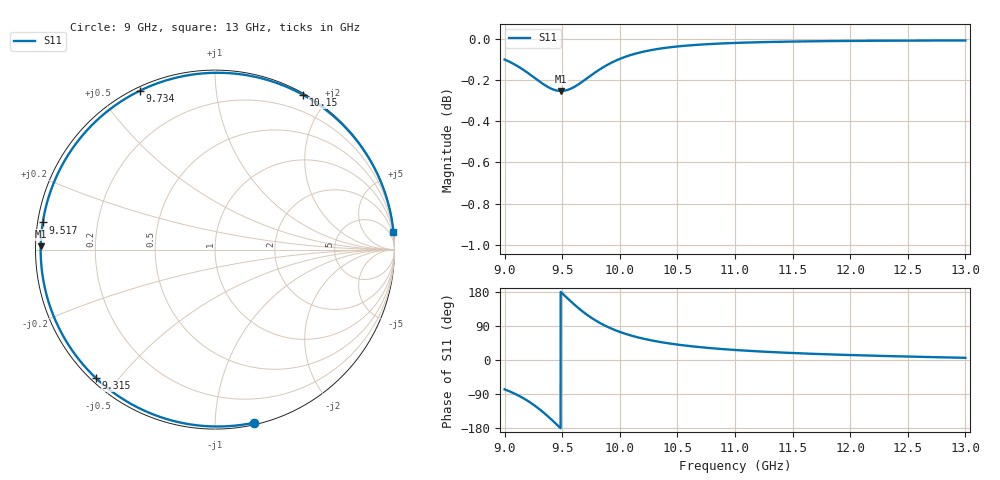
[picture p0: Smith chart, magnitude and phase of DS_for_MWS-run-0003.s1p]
! TOUCHSTONE file generated by CST DESIGN STUDIO
! Date and time: Tue Feb  4 15:56:13 2025
! Project name: C:\Work\MatlabApps\UnitCellOptimizationMatlab\CST\unitcell.cst
! Tree item: Tasks\Sweep1\SPara1\S-Parameters
! Header version: 2024
! Port assignment regex: !\s*Touchstone port\s*([0-9]+)\s*=\s*(CST MWS port|CST DES external port|CST DES block port)\s*(.+)\s* \(\"(.*)\"\)(\s*mode\s*([0-9]+))?.*
! Touchstone port assignment:
! Touchstone port 1 = CST DES external port 1 ("")
# GHz S MA R 50
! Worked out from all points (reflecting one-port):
!   4001 points, 9 GHz to 13 GHz, reference 50 ohm
!   lowest |S11| = -0.3 dB at 9.49 GHz (marker M1), VSWR 68.81, Z = 0.727 + j0.484 ohm
!   phase of S11 starts at -77 deg and turns -277 deg over the sweep
!   S11 on the Smith chart (normalised r, x): 9 GHz: 0.01, -1.25; 9.315 GHz: 0.01, -0.44; 9.517 GHz: 0.01, +0.08; 9.734 GHz: 0.01, +0.63; 10.15 GHz: 0.02, +1.72; 13 GHz: 0, +20
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9  0.9886 -77.4
9.081  0.9861 -87.9
9.18  0.9822 -104.0
9.25  0.979 -117.9
9.315  0.976 -132.9
9.361  0.9741 -144.6
9.41  0.9725 -158.0
9.451  0.9716 -169.8
9.49  0.9714 178.9
9.5  0.9714 176.0
9.517  0.9715 171.0
9.57  0.9725 155.9
9.63  0.9745 139.7
9.681  0.9767 127.1
9.734  0.9791 115.3
9.788  0.9815 104.7
9.848  0.984 94.4
9.923  0.9867 83.4
10  0.9889 74.1
10.15  0.9921 60.3
10.309  0.9942 49.8
10.5  0.9958 40.7
10.722  0.997 33.2
11  0.9978 26.4
11.5  0.9986 18.4
12  0.9989 13.1
12.5  0.9991 9.1
13  0.9992 5.8
